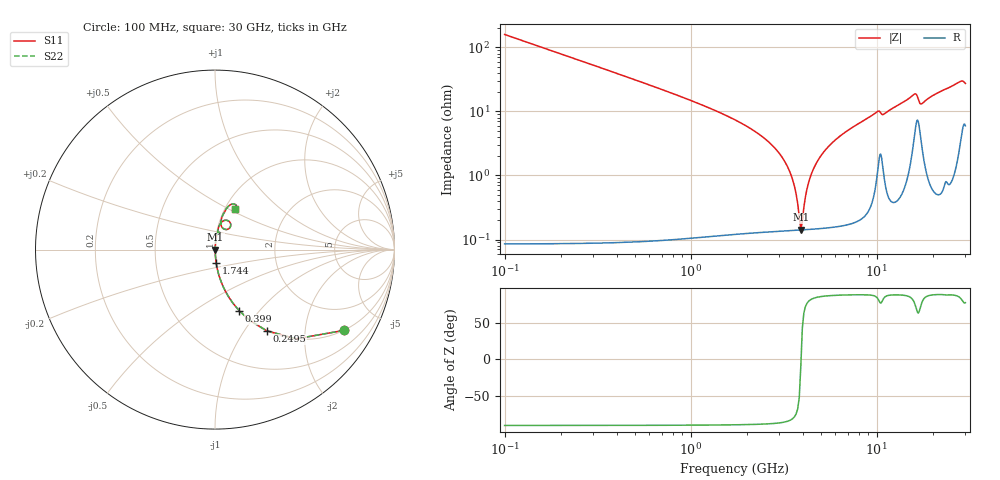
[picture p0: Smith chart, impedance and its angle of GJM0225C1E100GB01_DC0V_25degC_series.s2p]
!Murata Part Number: GJM0225C1E100GB01
!These Parameters are Measured in Series Mode Connection
!  o--ll--o
!Port1  Port2
!  o------o
!Operation Temp=25[degC], DC Bias Voltage=0[V]
!Freq. Start=100[MHz] Stop=30[GHz], 401[Steps]
!Data Generated on Feb 1, 2023
# Hz S RI R 50
!Freq.(Hz) S11(Real) S11(Imag) S21(Real) S21(Imag) S12(Real) S12(Imag) S22(Real) S22(Imag)
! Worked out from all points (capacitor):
!   401 points, 100 MHz to 30 GHz, reference 50 ohm
!   read as one part in series: C = 10 pF near 249.5 MHz
!   lowest |Z| = 142 mohm at 3.912 GHz (marker M1)
!   series resonance near 3.923 GHz, so ESL is about 160 pH
!   S11 on the Smith chart (normalised r, x): 100 MHz: 1.00, -3.18; 249.5 MHz: 1.00, -1.27; 399 MHz: 1.00, -0.79; 1.744 GHz: 1.00, -0.15; 30 GHz: 1.12, +0.53
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1e8  0.7166 -0.4504  0.2834 0.4504  0.2834 0.4504  0.7166 -0.4504
2.495e8  0.2878 -0.452  0.7122 0.452  0.7122 0.452  0.2878 -0.452
3.99e8  0.1353 -0.3409  0.8647 0.3409  0.8647 0.3409  0.1353 -0.3409
9.2225e8  0.0268 -0.1583  0.9732 0.1583  0.9732 0.1583  0.0268 -0.1583
1.7445e9  0.00649 -0.0725  0.9935 0.0725  0.9935 0.0725  0.00649 -0.0725
3.2395e9  0.0016 -0.0156  0.9984 0.0156  0.9984 0.0156  0.0016 -0.0156
3.5385e9  0.00145 -0.00836  0.9985 0.00836  0.9985 0.00836  0.00145 -0.00836
3.8375e9  0.0014 -0.00178  0.9986 0.00178  0.9986 0.00178  0.0014 -0.00178
3.91225e9  0.00141 -0.000216  0.9986 0.000216  0.9986 0.000216  0.00141 -0.000216
4.06175e9  0.00142 0.00282  0.9986 -0.00282  0.9986 -0.00282  0.00142 0.00282
4.21125e9  0.00146 0.00576  0.9985 -0.00576  0.9985 -0.00576  0.00146 0.00576
4.4355e9  0.00154 0.00999  0.9985 -0.00999  0.9985 -0.00999  0.00154 0.00999
5.10825e9  0.00196 0.0217  0.998 -0.0217  0.998 -0.0217  0.00196 0.0217
6.8275e9  0.00396 0.0478  0.996 -0.0478  0.996 -0.0478  0.00396 0.0478
1.01165e10  0.0207 0.0959  0.9793 -0.0959  0.9793 -0.0959  0.0207 0.0959
1.0864e10  0.019 0.0863  0.981 -0.0863  0.981 -0.0863  0.019 0.0863
1.505e10  0.0376 0.154  0.9624 -0.154  0.9624 -0.154  0.0376 0.154
1.617125e10  0.0788 0.157  0.9212 -0.157  0.9212 -0.157  0.0788 0.157
1.72925e10  0.0494 0.115  0.9506 -0.115  0.9506 -0.115  0.0494 0.115
2.005825e10  0.0357 0.1698  0.9643 -0.1698  0.9643 -0.1698  0.0357 0.1698
2.50665e10  0.0624 0.2266  0.9376 -0.2266  0.9376 -0.2266  0.0624 0.2266
3e10  0.1126 0.2236  0.8874 -0.2236  0.8874 -0.2236  0.1126 0.2236
